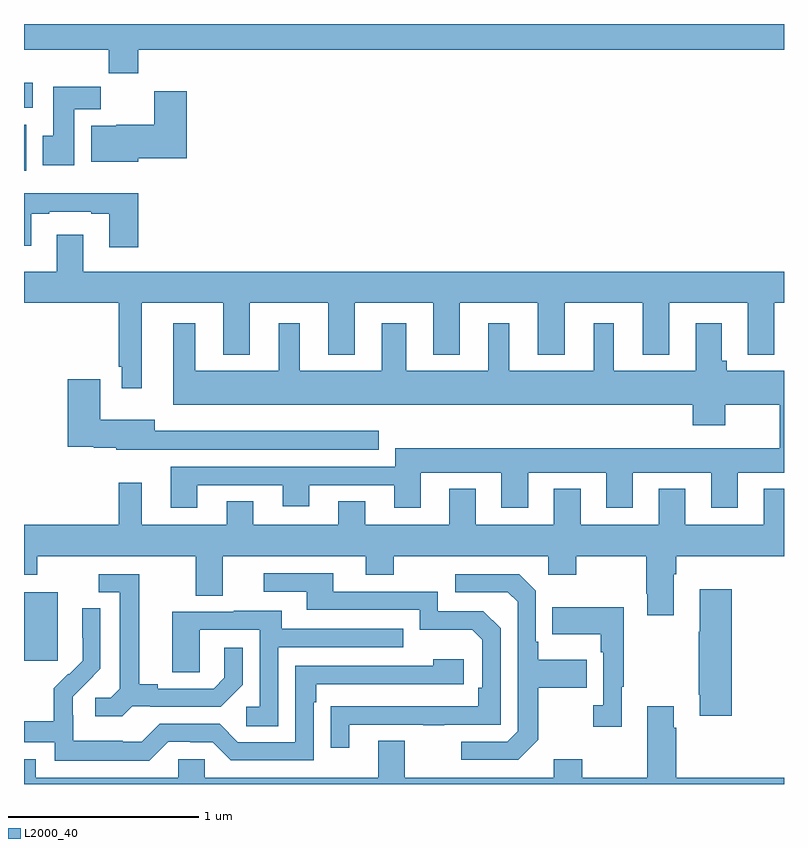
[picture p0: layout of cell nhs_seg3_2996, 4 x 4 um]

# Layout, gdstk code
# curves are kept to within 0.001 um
import gdstk
lib = gdstk.Library(unit=1e-6, precision=1e-09)
def R(c, l, rs):  # rectangles x0, y0, x1, y1
    for r in rs: c.add(gdstk.rectangle(r[:2], r[2:], *l))
def P(c, l, *ps):  # polygons
    for p in ps: c.add(gdstk.Polygon(p, *l))
L2000_40 = (2000, 40)

nhs_seg3_2996 = lib.new_cell('nhs_seg3_2996')
R(nhs_seg3_2996, L2000_40, [(267,683.049,267.178,683.41), (267,685.628,267.013,685.87), (267,685.958,267.046,686.092)])
P(nhs_seg3_2996, L2000_40, [(267.602,686.264),(271,686.264),(271,686.4),(267,686.4),(267,686.264),(267.445,686.264),(267.445,686.14),(267.602,686.14)],
  [(267.265,685.952),(267.404,685.952),(267.404,686.071),(267.155,686.071),(267.155,685.812),(267.098,685.812),(267.098,685.656),(267.265,685.656)],
  [(267.6,685.694),(267.857,685.694),(267.857,686.047),(267.686,686.047),(267.686,685.87),(267.486,685.87),(267.486,685.864),(267.353,685.864),(267.353,685.676),(267.6,685.676)],
  [(267.602,685.51),(267,685.51),(267,685.232),(267.037,685.232),(267.037,685.401),(267.133,685.401),(267.133,685.413),(267.353,685.413),(267.353,685.401),(267.449,685.401),(267.449,685.224),(267.602,685.224)],
  [(267.313,685.291),(267.173,685.291),(267.173,685.096),(267,685.096),(267,684.932),(267.498,684.932),(267.498,684.595),(267.515,684.595),(267.515,684.483),(267.619,684.483),(267.619,684.932),(268.049,684.932),(268.049,684.659),(268.189,684.659),(268.189,684.932),(268.601,684.932),(268.601,684.659),(268.741,684.659),(268.741,684.932),(269.153,684.932),(269.153,684.659),(269.293,684.659),(269.293,684.932),(269.705,684.932),(269.705,684.659),(269.845,684.659),(269.845,684.932),(270.257,684.932),(270.257,684.659),(270.397,684.659),(270.397,684.932),(270.809,684.932),(270.809,684.659),(270.949,684.659),(270.949,684.932),(271,684.932),(271,685.096),(267.313,685.096)],
  [(267.913,683.973),(268.361,683.973),(268.361,683.861),(268.501,683.861),(268.501,683.973),(268.949,683.973),(268.949,683.853),(269.089,683.853),(269.089,684.038),(269.513,684.038),(269.513,683.853),(269.653,683.853),(269.653,684.038),(270.065,684.038),(270.065,683.853),(270.205,683.853),(270.205,684.038),(270.617,684.038),(270.617,683.853),(270.757,683.853),(270.757,684.038),(271,684.038),(271,684.574),(270.699,684.574),(270.699,684.627),(270.673,684.627),(270.673,684.826),(270.536,684.826),(270.536,684.574),(270.103,684.574),(270.103,684.826),(269.999,684.826),(269.999,684.574),(269.554,684.574),(269.554,684.826),(269.444,684.826),(269.444,684.574),(269.011,684.574),(269.011,684.826),(268.883,684.826),(268.883,684.574),(268.45,684.574),(268.45,684.826),(268.34,684.826),(268.34,684.574),(267.901,684.574),(267.901,684.826),(267.785,684.826),(267.785,684.395),(270.521,684.395),(270.521,684.287),(270.691,684.287),(270.691,684.395),(270.977,684.395),(270.977,684.166),(268.955,684.166),(268.955,684.069),(267.773,684.069),(267.773,683.853),(267.913,683.853)],
  [(268.867,684.259),(267.688,684.259),(267.688,684.316),(267.4,684.316),(267.4,684.529),(267.23,684.529),(267.23,684.176),(267.366,684.176),(267.366,684.169),(267.486,684.169),(267.486,684.158),(268.867,684.158)],
  [(270.421,683.504),(270.434,683.504),(270.434,683.6),(271,683.6),(271,683.953),(270.893,683.953),(270.893,683.764),(270.481,683.764),(270.481,683.953),(270.341,683.953),(270.341,683.764),(269.929,683.764),(269.929,683.953),(269.789,683.953),(269.789,683.764),(269.377,683.764),(269.377,683.953),(269.237,683.953),(269.237,683.764),(268.795,683.764),(268.795,683.888),(268.655,683.888),(268.655,683.764),(268.207,683.764),(268.207,683.888),(268.067,683.888),(268.067,683.764),(267.619,683.764),(267.619,683.986),(267.498,683.986),(267.498,683.764),(267,683.764),(267,683.501),(267.069,683.501),(267.069,683.6),(267.905,683.6),(267.905,683.392),(268.045,683.392),(268.045,683.6),(268.799,683.6),(268.799,683.501),(268.947,683.501),(268.947,683.6),(269.76,683.6),(269.76,683.501),(269.907,683.501),(269.907,683.6),(270.274,683.6),(270.274,683.401),(270.281,683.401),(270.281,683.289),(270.421,683.289)],
  [(268.711,682.713),(269.101,682.713),(269.101,682.708),(269.213,682.708),(269.213,682.713),(269.508,682.713),(269.508,683.22),(269.418,683.31),(269.178,683.31),(269.178,683.412),(268.627,683.412),(268.627,683.508),(268.263,683.508),(268.263,683.412),(268.487,683.412),(268.487,683.316),(269.082,683.316),(269.082,683.213),(269.359,683.213),(269.412,683.16),(269.412,682.906),(269.392,682.906),(269.392,682.809),(268.615,682.808),(268.615,682.59),(268.711,682.59)],
  [(269.707,682.633),(269.707,682.906),(269.963,682.906),(269.963,683.053),(269.707,683.053),(269.707,683.149),(269.694,683.149),(269.694,683.418),(269.607,683.505),(269.271,683.505),(269.271,683.409),(269.547,683.409),(269.598,683.358),(269.598,682.677),(269.544,682.623),(269.301,682.623),(269.301,682.527),(269.601,682.527)],
  [(267.57,682.809),(267.664,682.809),(267.664,682.806),(268.036,682.806),(268.152,682.922),(268.152,683.116),(268.055,683.116),(268.055,682.959),(267.998,682.902),(267.703,682.902),(267.703,682.925),(267.607,682.925),(267.607,683.505),(267.393,683.505),(267.393,683.409),(267.503,683.409),(267.503,682.901),(267.456,682.854),(267.375,682.854),(267.375,682.757),(267.518,682.757)],
  [(270.725,683.425),(270.557,683.425),(270.557,683.201),(270.55,683.201),(270.55,682.87),(270.557,682.87),(270.557,682.758),(270.725,682.758)],
  [(270.145,682.913),(270.157,682.913),(270.157,683.329),(269.779,683.329),(269.779,683.189),(270.036,683.189),(270.036,683.093),(270.048,683.093),(270.048,682.814),(269.997,682.814),(269.997,682.701),(270.145,682.701)],
  [(267.759,682.623),(267.875,682.623),(267.875,682.62),(267.993,682.62),(268.089,682.524),(268.524,682.524),(268.524,682.829),(268.537,682.829),(268.537,682.926),(269.314,682.926),(269.314,683.056),(269.153,683.056),(269.153,683.022),(268.428,683.022),(268.428,682.62),(268.125,682.62),(268.029,682.716),(267.714,682.716),(267.621,682.623),(267.521,682.623),(267.521,682.627),(267.258,682.627),(267.258,682.761),(267.256,682.761),(267.256,682.858),(267.402,683.006),(267.402,683.324),(267.306,683.324),(267.306,683.17),(267.308,683.17),(267.308,683.048),(267.237,682.977),(267.234,682.98),(267.157,682.903),(267.157,682.729),(267,682.729),(267,682.62),(267.162,682.62),(267.162,682.523),(267.659,682.523)],
  [(268.338,683.121),(268.997,683.121),(268.997,683.217),(268.357,683.217),(268.357,683.311),(268.103,683.311),(268.103,683.307),(267.779,683.307),(267.779,682.987),(267.924,682.987),(267.924,683.211),(268.242,683.211),(268.242,682.806),(268.17,682.806),(268.17,682.705),(268.338,682.705)],
  [(271,682.432),(270.434,682.432),(270.434,682.697),(270.421,682.697),(270.421,682.81),(270.281,682.81),(270.281,682.432),(269.937,682.432),(269.937,682.531),(269.789,682.531),(269.789,682.432),(269.005,682.432),(269.005,682.627),(268.865,682.627),(268.865,682.432),(267.951,682.432),(267.951,682.53),(267.813,682.53),(267.813,682.432),(267.061,682.432),(267.061,682.531),(267,682.531),(267,682.4),(271,682.4)])

lib.write_gds('nhs_seg3_2996.gds')
